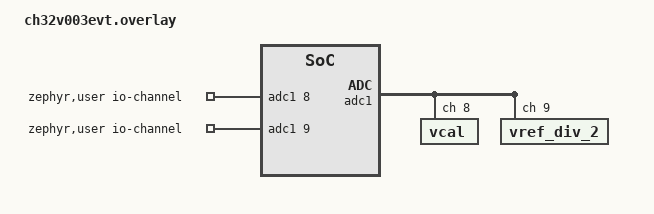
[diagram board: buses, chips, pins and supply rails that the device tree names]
/*
 * Copyright (c) 2024 Google LLC.
 *
 * SPDX-License-Identifier: Apache-2.0
 */

#include <zephyr/dt-bindings/adc/adc.h>

/ {
	zephyr,user {
		/* Vcal (~1.20 V) and 1/2 Vref (~1.65 V). */
		io-channels = <&adc1 8 &adc1 9>;
	};
};

&adc1 {
	status = "okay";

        #address-cells = <1>;
        #size-cells = <0>;

        vcal@8 {
                reg = <8>;
                zephyr,gain = "ADC_GAIN_1";
                zephyr,reference = "ADC_REF_INTERNAL";
                zephyr,acquisition-time = <ADC_ACQ_TIME_DEFAULT>;
                zephyr,resolution = <10>;
        };

        vref_div_2@9 {
                reg = <9>;
                zephyr,gain = "ADC_GAIN_1";
                zephyr,reference = "ADC_REF_INTERNAL";
                zephyr,acquisition-time = <ADC_ACQ_TIME_DEFAULT>;
                zephyr,resolution = <10>;
        };
};
